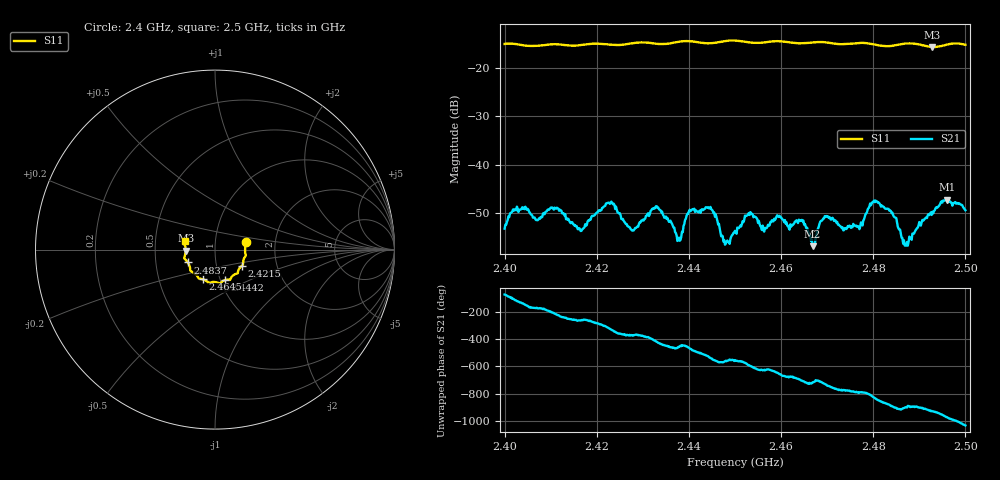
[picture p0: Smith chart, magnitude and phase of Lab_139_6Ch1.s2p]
# Hz S RI R 50
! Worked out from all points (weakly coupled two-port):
!   601 points, 2.4 GHz to 2.5 GHz, reference 50 ohm
!   highest |S21| = -47.21 dB at 2.496 GHz (marker M1); lowest = -56.8 dB at 2.4668 GHz (marker M2)
!   lowest |S11| = -15.7 dB at 2.4928 GHz (marker M3), VSWR 1.39, Z = 36 - j0.388 ohm
!   |S11| at or under -10 dB: start of sweep to end of sweep
!   S12 and S22 are empty: the file has one direction only
!   S11 on the Smith chart (normalised r, x): 2.4 GHz: 1.41, +0.12; 2.4215 GHz: 1.33, -0.25; 2.4442 GHz: 1.05, -0.37; 2.4645 GHz: 0.83, -0.29; 2.4837 GHz: 0.73, -0.11; 2.5 GHz: 0.71, +0.07
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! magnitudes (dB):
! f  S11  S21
! 2.4 GHz  -15.1  -53.2
! 2.4105 GHz  -15.1  -48.9
! 2.4167 GHz  -15.3  -53.6
! 2.4215 GHz  -15.1  -48.7
! 2.4278 GHz  -15.0  -53.5
! 2.4333 GHz  -15.1  -48.8
! 2.4378 GHz  -14.6  -55.0
! 2.4402 GHz  -14.5  -49.3
! 2.4442 GHz  -15.0  -48.7
! 2.448 GHz  -14.5  -56.3
! 2.45 GHz  -14.4  -53.6
! 2.4533 GHz  -14.8  -49.8
! 2.4645 GHz  -15.0  -51.4
! 2.4667 GHz  -14.8  -55.4
! 2.4668 GHz  -14.8  -56.8
! 2.4697 GHz  -14.8  -50.6
! 2.4833 GHz  -15.6  -49.1
! 2.4837 GHz  -15.5  -49.4
! 2.487 GHz  -15.0  -56.6
! 2.4928 GHz  -15.7  -49.7
! 2.496 GHz  -15.2  -47.2
! 2.5 GHz  -15.3  -49.4
